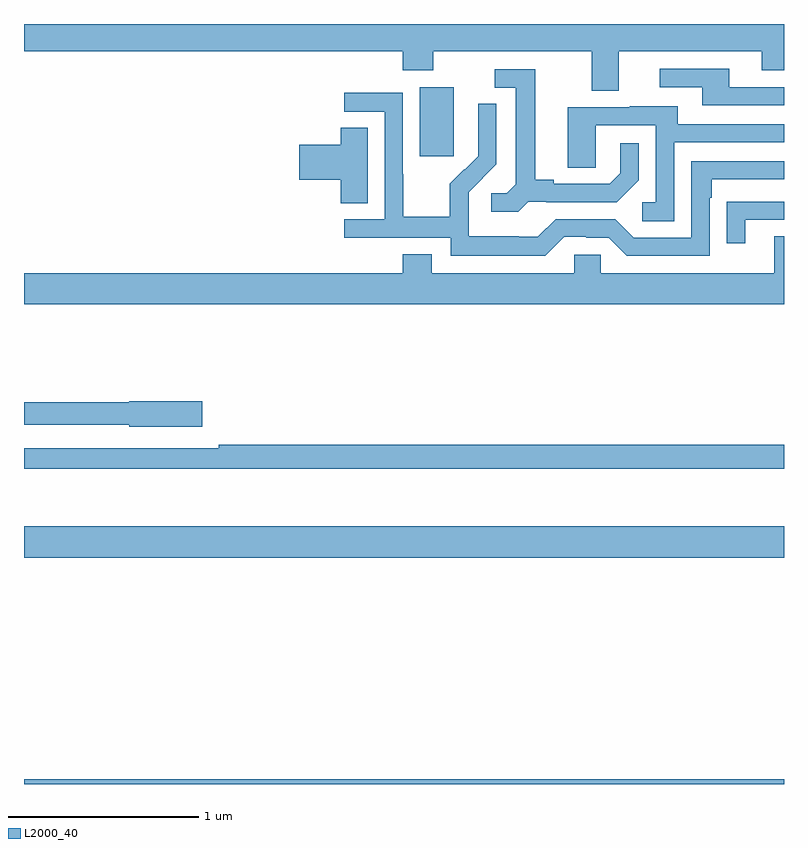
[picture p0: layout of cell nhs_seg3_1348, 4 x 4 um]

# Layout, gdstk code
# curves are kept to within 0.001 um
import gdstk
lib = gdstk.Library(unit=1e-6, precision=1e-09)
def R(c, l, rs):  # rectangles x0, y0, x1, y1
    for r in rs: c.add(gdstk.rectangle(r[:2], r[2:], *l))
def P(c, l, *ps):  # polygons
    for p in ps: c.add(gdstk.Polygon(p, *l))
L2000_40 = (2000, 40)

nhs_seg3_1348 = lib.new_cell('nhs_seg3_1348')
R(nhs_seg3_1348, L2000_40, [(181,690.4,185,690.424), (181,691.592,185,691.756), (183.083,693.705,183.262,694.066)])
P(nhs_seg3_1348, L2000_40, [(184.129,694.256),(184.883,694.256),(184.883,694.157),(185,694.157),(185,694.4),(181,694.4),(181,694.256),(182.993,694.256),(182.993,694.157),(183.153,694.157),(183.153,694.256),(183.989,694.256),(183.989,694.048),(184.129,694.048)],
  [(185,694.068),(184.711,694.068),(184.711,694.164),(184.347,694.164),(184.347,694.068),(184.571,694.068),(184.571,693.972),(185,693.972)],
  [(183.654,693.465),(183.748,693.465),(183.748,693.462),(184.12,693.462),(184.236,693.578),(184.236,693.772),(184.139,693.772),(184.139,693.615),(184.082,693.558),(183.787,693.558),(183.787,693.581),(183.691,693.581),(183.691,694.161),(183.477,694.161),(183.477,694.065),(183.587,694.065),(183.587,693.557),(183.54,693.51),(183.459,693.51),(183.459,693.413),(183.602,693.413)],
  [(183.843,693.279),(183.959,693.279),(183.959,693.276),(184.077,693.276),(184.173,693.18),(184.608,693.18),(184.608,693.485),(184.621,693.485),(184.621,693.582),(185,693.582),(185,693.678),(184.512,693.678),(184.512,693.276),(184.209,693.276),(184.113,693.372),(183.798,693.372),(183.705,693.279),(183.605,693.279),(183.605,693.283),(183.342,693.283),(183.342,693.417),(183.34,693.417),(183.34,693.514),(183.486,693.662),(183.486,693.98),(183.39,693.98),(183.39,693.826),(183.392,693.826),(183.392,693.704),(183.321,693.633),(183.318,693.636),(183.241,693.559),(183.241,693.385),(182.997,693.385),(182.997,693.608),(182.994,693.608),(182.994,694.038),(182.685,694.038),(182.685,693.939),(182.898,693.939),(182.898,693.372),(182.685,693.372),(182.685,693.276),(183.246,693.276),(183.246,693.179),(183.743,693.179)],
  [(184.422,693.777),(185,693.777),(185,693.873),(184.441,693.873),(184.441,693.967),(184.187,693.967),(184.187,693.963),(183.863,693.963),(183.863,693.643),(184.008,693.643),(184.008,693.867),(184.326,693.867),(184.326,693.462),(184.254,693.462),(184.254,693.361),(184.422,693.361)],
  [(182.809,693.854),(182.666,693.854),(182.666,693.764),(182.448,693.764),(182.448,693.581),(182.666,693.581),(182.666,693.457),(182.809,693.457)],
  [(184.795,693.369),(185,693.369),(185,693.465),(184.801,693.465),(184.801,693.464),(184.699,693.464),(184.699,693.246),(184.795,693.246)],
  [(185,693.283),(184.949,693.283),(184.949,693.088),(184.035,693.088),(184.035,693.186),(183.897,693.186),(183.897,693.088),(183.145,693.088),(183.145,693.187),(182.993,693.187),(182.993,693.088),(181,693.088),(181,692.924),(185,692.924)],
  [(181.939,692.414),(181.554,692.414),(181.554,692.408),(181,692.408),(181,692.292),(181.554,692.292),(181.554,692.279),(181.939,692.279)],
  [(185,692.186),(182.026,692.186),(182.026,692.166),(181,692.166),(181,692.058),(185,692.058)])

lib.write_gds('nhs_seg3_1348.gds')
